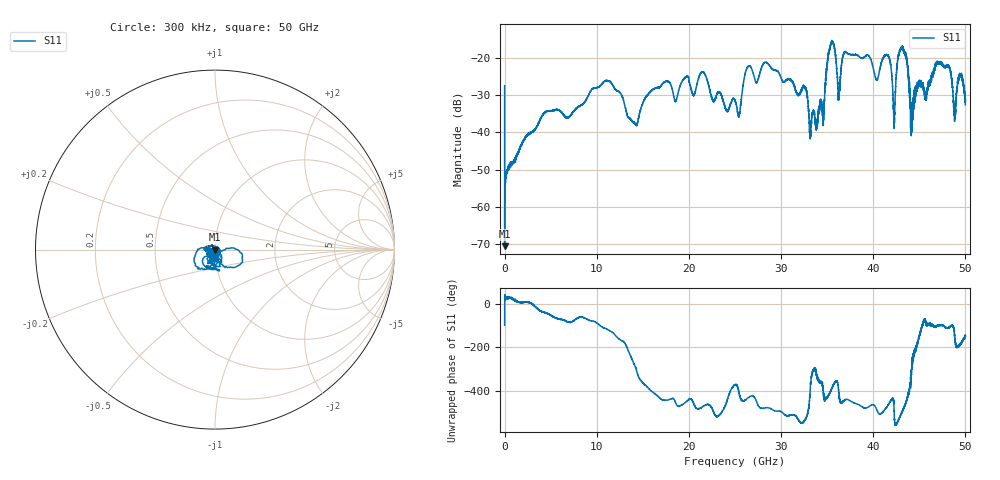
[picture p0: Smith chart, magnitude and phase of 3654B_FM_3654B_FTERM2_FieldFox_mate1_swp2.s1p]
!Created with skrf (http://scikit-rf.org).
# Hz S RI R 50.0
!freq ReS11 ImS11
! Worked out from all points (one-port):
!   10001 points, 300 kHz to 50 GHz, reference 50 ohm
!   lowest |S11| = -70.6 dB at 5.3 MHz (marker M1), VSWR 1.00, Z = 50 - j0.0216 ohm
!   |S11| at or under -10 dB: start of sweep to end of sweep
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300000  -0.00599 -0.0418
5299970  0.000203 -0.000215
2.552985e8  0.00258 0.00153
4.270274e9  0.0141 -0.0113
6.250262e9  0.00533 -0.0173
1.250022e10  -0.0331 -0.00979
1.419021e10  0.0043 0.0121
1.61552e10  0.0258 -0.0276
1.875019e10  -0.00908 -0.0297
2.148517e10  -0.0237 -0.0601
2.500015e10  0.0261 -0.00498
2.547015e10  0.00949 -0.014
2.649014e10  0.0282 -0.0716
3.125011e10  -0.0405 -0.0246
3.38601e10  0.012 0.00649
3.461509e10  0.00854 -0.0151
3.541509e10  0.1279 -0.0886
3.626008e10  0.0196 -0.0199
3.750008e10  0.0118 -0.1103
4.037006e10  -0.0275 -0.0417
4.153505e10  -0.0331 -0.1036
4.224005e10  -0.00268 -0.0115
4.296504e10  -0.1098 -0.0636
4.375004e10  0.0312 -0.062
4.419503e10  0.00582 0.0106
4.712502e10  -0.0112 -0.0846
4.881501e10  -0.0129 -0.0111
5e10  -0.0196 -0.0128
